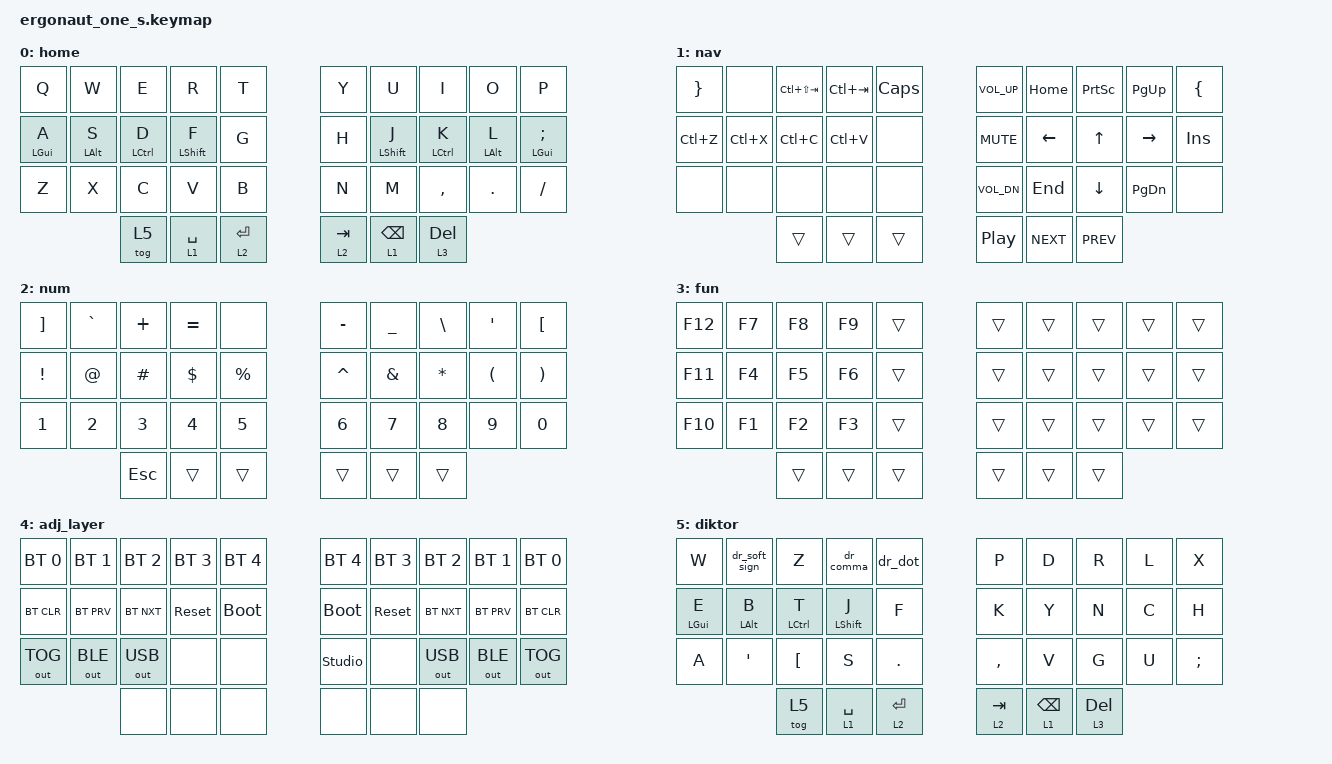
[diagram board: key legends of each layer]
#include <behaviors.dtsi>
#include <dt-bindings/zmk/bt.h>
#include <dt-bindings/zmk/keys.h>
#include <dt-bindings/zmk/outputs.h>

#define BASE 0
#define NAV 1
#define MOUSE 2
#define MEDIA 3
#define NUM 4
#define SYM 5
#define FUN 6
#define ADJ 7

/ {
    behaviors {
        hm: homerow_mods {
            compatible = "zmk,behavior-hold-tap";
            label = "HOMEROW_MODS";
            #binding-cells = <2>;
            tapping-term-ms = <220>;
            quick_tap_ms = <0>;
            flavor = "balanced";
            bindings = <&kp>, <&kp>;
        };

        dr_soft_sign: dr_soft_sign {
            compatible = "zmk,behavior-mod-morph";
            label = "DR_SOFT_SIGN";
            bindings = <&kp M>, <&kp RIGHT_BRACKET>;

            #binding-cells = <0>;
            mods = <(MOD_LSFT|MOD_RSFT)>;
        };

        dr_comma: dr_comma {
            compatible = "zmk,behavior-mod-morph";
            label = "DR_COMMA";
            bindings = <&kp QMARK>, <&kp AMPS>;

            #binding-cells = <0>;
            mods = <(MOD_LSFT|MOD_RSFT)>;
        };

        dr_dot: dr_dot {
            compatible = "zmk,behavior-mod-morph";
            label = "DR_DOT";
            bindings = <&kp KP_SLASH>, <&kp EXCL>;

            #binding-cells = <0>;
            mods = <(MOD_LSFT|MOD_RSFT)>;
        };
    };

    combos {
        compatible = "zmk,combos";

        settings {
            bindings = <&mo 4>;
            key-positions = <32 33>;
        };
    };

    keymap {
        compatible = "zmk,keymap";

        home {
            bindings = <
&kp Q       &kp W       &kp E        &kp R        &kp T        &kp Y        &kp U        &kp I        &kp O         &kp P
&hm LGUI A  &hm LALT S  &hm LCTRL D  &hm LSHFT F  &kp G        &kp H        &hm LSHFT J  &hm LCTRL K  &hm LALT L    &hm LGUI SEMI
&kp Z       &kp X       &kp C        &kp V        &kp B        &kp N        &kp M        &kp COMMA    &kp DOT       &kp FSLH
                                     &tog 5       &lt 1 SPACE  &lt 2 ENTER  &lt 2 TAB    &lt 1 BSPC   &lt 3 DELETE
            >;
        };

        nav {
            bindings = <
&kp RIGHT_BRACE  &none      &kp LC(LS(TAB))  &kp LC(TAB)  &kp CAPS  &kp C_VOL_UP  &kp HOME  &kp PRINTSCREEN  &kp PAGE_UP      &kp LEFT_BRACE
&kp LC(Z)        &kp LC(X)  &kp LC(C)        &kp LC(V)    &none     &kp C_MUTE    &kp LEFT  &kp UP_ARROW     &kp RIGHT_ARROW  &kp INSERT
&none            &none      &none            &none        &none     &kp C_VOL_DN  &kp END   &kp DOWN_ARROW   &kp PAGE_DOWN    &none
                                             &trans       &trans    &trans        &kp C_PP  &kp C_NEXT       &kp C_PREV
            >;
        };

        num {
            bindings = <
&kp RIGHT_BRACKET  &kp GRAVE     &kp PLUS      &kp EQUAL   &none        &kp MINUS  &kp UNDER      &kp BACKSLASH  &kp APOSTROPHE        &kp LEFT_BRACKET
&kp EXCLAMATION    &kp AT        &kp HASH      &kp DOLLAR  &kp PERCENT  &kp CARET  &kp AMPERSAND  &kp ASTRK      &kp LEFT_PARENTHESIS  &kp RIGHT_PARENTHESIS
&kp NUMBER_1       &kp NUMBER_2  &kp NUMBER_3  &kp N4      &kp N5       &kp N6     &kp N7         &kp N8         &kp N9                &kp N0
                                               &kp ESC     &trans       &trans     &trans         &trans         &trans
            >;
        };

        fun {
            bindings = <
&kp F12  &kp F7  &kp F8  &kp F9  &trans  &trans  &trans  &trans  &trans  &trans
&kp F11  &kp F4  &kp F5  &kp F6  &trans  &trans  &trans  &trans  &trans  &trans
&kp F10  &kp F1  &kp F2  &kp F3  &trans  &trans  &trans  &trans  &trans  &trans
                         &trans  &trans  &trans  &trans  &trans  &trans
            >;
        };

        adj_layer {
            bindings = <
&bt BT_SEL 0  &bt BT_SEL 1  &bt BT_SEL 2  &bt BT_SEL 3  &bt BT_SEL 4  &bt BT_SEL 4    &bt BT_SEL 3  &bt BT_SEL 2  &bt BT_SEL 1  &bt BT_SEL 0
&bt BT_CLR    &bt BT_PRV    &bt BT_NXT    &sys_reset    &bootloader   &bootloader     &sys_reset    &bt BT_NXT    &bt BT_PRV    &bt BT_CLR
&out OUT_TOG  &out OUT_BLE  &out OUT_USB  &none         &none         &studio_unlock  &none         &out OUT_USB  &out OUT_BLE  &out OUT_TOG
                                          &none         &none         &none           &none         &none         &none
            >;
        };

        diktor {
            bindings = <
&kp W           &dr_soft_sign   &kp Z               &dr_comma         &dr_dot      &kp P        &kp D      &kp R            &kp L         &kp X
&hm LEFT_GUI E  &hm LEFT_ALT B  &hm LEFT_CONTROL T  &hm LEFT_SHIFT J  &kp F        &kp K        &kp Y      &kp N            &kp C         &kp H
&kp A           &kp APOS        &kp LBKT            &kp S             &kp DOT      &kp COMMA    &kp V      &kp G            &kp U         &kp SEMI
                                                    &tog 5            &lt 1 SPACE  &lt 2 ENTER  &lt 2 TAB  &lt 1 BACKSPACE  &lt 3 DELETE
            >;
        };
    };
};
